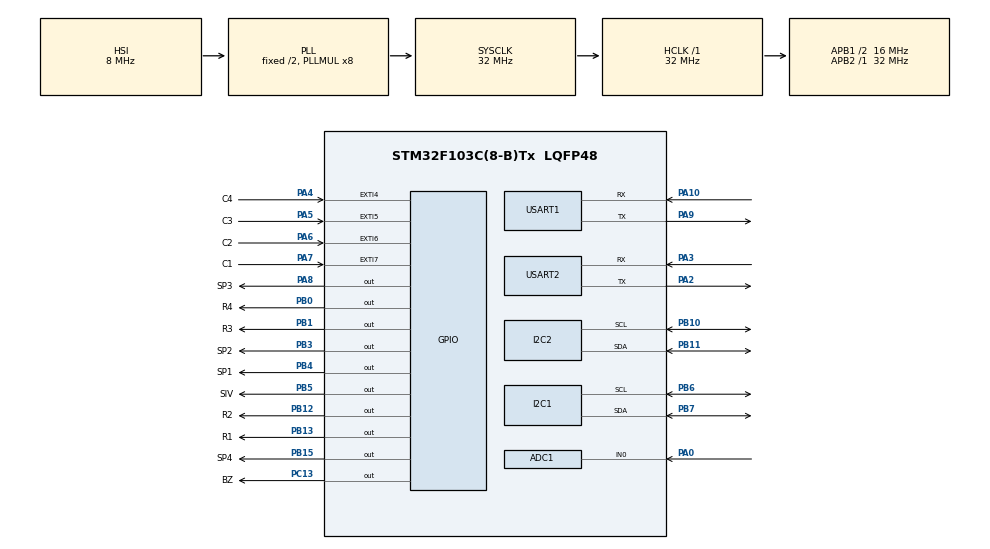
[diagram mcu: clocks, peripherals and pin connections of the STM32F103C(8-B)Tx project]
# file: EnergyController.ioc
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ADC1.Channel-0\#ChannelRegularConversion=ADC_CHANNEL_0
ADC1.NbrOfConversionFlag=1
ADC1.Rank-0\#ChannelRegularConversion=1
ADC1.SamplingTime-0\#ChannelRegularConversion=ADC_SAMPLETIME_7CYCLES_5
ADC1.master=1
FREERTOS.Tasks01=defaultTask,24,128,StartDefaultTask,Default,NULL,Dynamic,NULL,NULL
Mcu.Family=STM32F1
Mcu.Name=STM32F103C(8-B)Tx
Mcu.Package=LQFP48
NVIC.EXTI4_IRQn=true\:6\:0\:true\:false\:true\:true\:true\:true\:true
NVIC.EXTI9_5_IRQn=true\:5\:0\:false\:false\:true\:true\:true\:true\:true
NVIC.PriorityGroup=NVIC_PRIORITYGROUP_4
NVIC.TIM1_UP_IRQn=true\:15\:0\:false\:false\:true\:false\:false\:true\:true
NVIC.TimeBase=TIM1_UP_IRQn
NVIC.TimeBaseIP=TIM1
PA0-WKUP.Signal=ADCx_IN0
PA10.Mode=Asynchronous
PA10.Signal=USART1_RX
PA13.Mode=Serial_Wire
PA13.Signal=SYS_JTMS-SWDIO
PA14.Mode=Serial_Wire
PA14.Signal=SYS_JTCK-SWCLK
PA2.Mode=Asynchronous
PA2.Signal=USART2_TX
PA3.Mode=Asynchronous
PA3.Signal=USART2_RX
PA4.GPIO_Label=C4
PA4.GPIO_ModeDefaultEXTI=GPIO_MODE_IT_FALLING
PA4.GPIO_PuPd=GPIO_PULLUP
PA4.Signal=GPXTI4
PA5.GPIO_Label=C3
PA5.GPIO_ModeDefaultEXTI=GPIO_MODE_IT_FALLING
PA5.GPIO_PuPd=GPIO_PULLUP
PA5.Signal=GPXTI5
PA6.GPIO_Label=C2
PA6.GPIO_ModeDefaultEXTI=GPIO_MODE_IT_FALLING
PA6.GPIO_PuPd=GPIO_PULLUP
PA6.Signal=GPXTI6
PA7.GPIO_Label=C1
PA7.GPIO_ModeDefaultEXTI=GPIO_MODE_IT_FALLING
PA7.GPIO_PuPd=GPIO_PULLUP
PA7.Signal=GPXTI7
PA8.GPIO_Label=SP3
PA8.GPIO_PuPd=GPIO_PULLDOWN
PA8.Signal=GPIO_Output
PA9.Mode=Asynchronous
PA9.Signal=USART1_TX
PB0.GPIO_Label=R4
PB0.GPIO_PuPd=GPIO_PULLDOWN
PB0.Signal=GPIO_Output
PB1.GPIO_Label=R3
PB1.GPIO_PuPd=GPIO_PULLDOWN
PB1.Signal=GPIO_Output
PB10.Mode=I2C
PB10.Signal=I2C2_SCL
PB11.Mode=I2C
PB11.Signal=I2C2_SDA
PB12.GPIO_Label=R2
PB12.GPIO_PuPd=GPIO_PULLDOWN
PB12.Signal=GPIO_Output
PB13.GPIO_Label=R1
PB13.GPIO_PuPd=GPIO_PULLDOWN
PB13.Signal=GPIO_Output
PB15.GPIO_Label=SP4
PB15.GPIO_PuPd=GPIO_PULLDOWN
PB15.Signal=GPIO_Output
PB3.GPIO_Label=SP2
PB3.GPIO_PuPd=GPIO_PULLDOWN
PB3.Signal=GPIO_Output
PB4.GPIO_Label=SP1
PB4.GPIO_PuPd=GPIO_PULLDOWN
PB4.Signal=GPIO_Output
PB5.GPIO_Label=SIV
PB5.GPIO_PuPd=GPIO_PULLDOWN
PB5.Signal=GPIO_Output
PB6.Mode=I2C
PB6.Signal=I2C1_SCL
PB7.Mode=I2C
PB7.Signal=I2C1_SDA
PC13-TAMPER-RTC.GPIO_Label=BZ
PC13-TAMPER-RTC.GPIO_PuPd=GPIO_PULLDOWN
PC13-TAMPER-RTC.Signal=GPIO_Output
ProjectManager.HeapSize=0x200
ProjectManager.StackSize=0x400
ProjectManager.TargetToolchain=STM32CubeIDE
RCC.ADCPresc=RCC_ADCPCLK2_DIV4
RCC.AHBFreq_Value=32000000
RCC.APB1CLKDivider=RCC_HCLK_DIV2
RCC.APB1Freq_Value=16000000
RCC.APB1TimFreq_Value=32000000
RCC.APB2Freq_Value=32000000
RCC.APB2TimFreq_Value=32000000
RCC.HCLKFreq_Value=32000000
RCC.PLLMUL=RCC_PLL_MUL8
RCC.SYSCLKFreq_VALUE=32000000
RCC.SYSCLKSource=RCC_SYSCLKSOURCE_PLLCLK
RCC.USBFreq_Value=32000000
SH.ADCx_IN0.0=ADC1_IN0,IN0
USART1.VirtualMode=VM_ASYNC
USART2.VirtualMode=VM_ASYNC
VP_FREERTOS_VS_CMSIS_V2.Mode=CMSIS_V2
VP_SYS_VS_tim1.Mode=TIM1
board=custom

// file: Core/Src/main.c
/* USER CODE BEGIN Header */
/**
  ******************************************************************************
  * @file           : main.c
  * @brief          : Main program body
  ******************************************************************************
  * @attention
  *
  * Copyright (c) 2025 STMicroelectronics.
  * All rights reserved.
  *
  * This software is licensed under terms that can be found in the LICENSE file
  * in the root directory of this software component.
  * If no LICENSE file comes with this software, it is provided AS-IS.
  *
  ******************************************************************************
  */
/* USER CODE END Header */
#include "main.h"
#include "cmsis_os.h"

/* USER CODE BEGIN Includes */
#include "ADC.h"
#include "ADS1115.h"
#include "LCD2004.h"
#include "Display.h"
/* USER CODE END Includes */

/* USER CODE BEGIN PD */
DateTime_t globalTime;
/* Debounce bằng thời gian (không delay trong ISR) */
static volatile uint32_t s_last_irq_tick = 0U;
#define KEYPAD_DEBOUNCE_MS   30U   // lockout ngắn để tránh lặp
char keyPress = 0;
#define ROWS		4U
#define COLS		4U
/* USER CODE END PD */

/* USER CODE BEGIN PM */
uint8_t    g_portActive[5]   = {0};

static GPIO_TypeDef* ROW_PORT[ROWS] = {R1_GPIO_Port, R2_GPIO_Port, R3_GPIO_Port, R4_GPIO_Port};
static uint16_t      ROW_PIN [ROWS] = {R1_Pin,       R2_Pin,       R3_Pin,       R4_Pin      };
static GPIO_TypeDef* COL_PORT[COLS] = {C1_GPIO_Port, C2_GPIO_Port, C3_GPIO_Port, C4_GPIO_Port};
static uint16_t      COL_PIN [COLS] = {C1_Pin,       C2_Pin,       C3_Pin,       C4_Pin      };

static const char keymap[ROWS][COLS] = {
    {'D','#','0','*'},
    {'C','9','8','7'},
    {'B','6','5','4'},
    {'A','3','2','1'}
};

static inline char Keypad_ScanFast(void)
{
    for (int r = 0; r < ROWS; r++)
    {
        // set tất cả hàng HIGH
        for (int i = 0; i < ROWS; i++) {
            HAL_GPIO_WritePin(ROW_PORT[i], ROW_PIN[i], GPIO_PIN_SET);
        }
        // kéo một hàng xuống LOW
        HAL_GPIO_WritePin(ROW_PORT[r], ROW_PIN[r], GPIO_PIN_RESET);

        // đọc các cột
        for (int c = 0; c < COLS; c++)
        {
            if (HAL_GPIO_ReadPin(COL_PORT[c], COL_PIN[c]) == GPIO_PIN_RESET)
            {
                // trả hàng về HIGH trước khi return
                HAL_GPIO_WritePin(ROW_PORT[r], ROW_PIN[r], GPIO_PIN_SET);
                return keymap[r][c];
            }
        }
    }
    return 0;
}

static inline void Keypad_Init(void)
{
    // Tạo queue: 8 phần tử, mỗi phần tử 1 char (tăng depth cho bền)

    // Kéo tất cả hàng về LOW (mặc định)
    for (int r = 0; r < ROWS; r++) {
        HAL_GPIO_WritePin(ROW_PORT[r], ROW_PIN[r], GPIO_PIN_RESET);
    }
}
/* ==== DateTime helpers: cộng phút vào DateTime_t ==== */
static int is_leap(uint16_t y) { return ((y%4==0 && y%100!=0) || (y%400==0)); }

static uint8_t days_in_month(uint8_t m, uint16_t y)
{
    static const uint8_t d[12] = {31,28,31,30,31,30,31,31,30,31,30,31};
    if (m == 0 || m > 12) return 31;
    if (m == 2) return d[1] + (is_leap(y) ? 1 : 0);
    return d[m-1];
}

/* base->year là 2 chữ số (00..99) => hiểu là 2000+year */
static void DateTime_AddMinutes(const DateTime_t *base, uint32_t addMin, DateTime_t *out)
{
    if (!base || !out) return;

    uint16_t fullY = 2000u + base->year;
    uint8_t  mon   = base->month  ? base->month  : 1;
    uint8_t  day   = base->day    ? base->day    : 1;
    uint8_t  hour  = base->hour;
    uint8_t  min   = base->min;
    uint8_t  sec   = base->sec;   // giữ nguyên giây

    /* cộng phút -> tách phần ngày & phần trong ngày */
    uint32_t totalMin = (uint32_t)hour * 60u + (uint32_t)min + addMin;
    uint32_t daysAdd  = totalMin / (24u * 60u);
    uint32_t minInDay = totalMin % (24u * 60u);

    hour = (uint8_t)(minInDay / 60u);
    min  = (uint8_t)(minInDay % 60u);

    /* cộng ngày, cuốn theo tháng/năm */
    while (daysAdd--)
    {
        uint8_t dim = days_in_month(mon, fullY);
        if (day < dim) {
            day++;
        } else {
            day = 1;
            if (mon < 12) mon++;
            else { mon = 1; fullY++; }
        }
    }

    out->sec   = sec;
    out->min   = min;
    out->hour  = hour;
    out->day   = day;
    out->month = mon;
    out->year  = (uint8_t)(fullY >= 2000 ? (fullY - 2000) : 0);  // 2 chữ số
}

/**************************************/
/*****  Port Service Function *********/
/**************************************/
static void open_port(const uint8_t port_number)
{
	switch(port_number)
	{
		case 0:
			HAL_GPIO_WritePin(SP1_GPIO_Port, SP1_Pin, 0U);
			break;
		case 1:
			HAL_GPIO_WritePin(SP2_GPIO_Port, SP2_Pin, 0U);
			break;
		case 2:
			HAL_GPIO_WritePin(SP3_GPIO_Port, SP3_Pin, 0U);
			break;
		case 3:
			HAL_GPIO_WritePin(SP4_GPIO_Port, SP4_Pin, 0U);
			break;
		case 4:
			HAL_GPIO_WritePin(SIV_GPIO_Port, SIV_Pin, 0U);
			break;
		default:
			HAL_GPIO_WritePin(SP1_GPIO_Port, SP1_Pin, 1U);
			HAL_GPIO_WritePin(SP2_GPIO_Port, SP2_Pin, 1U);
			HAL_GPIO_WritePin(SP3_GPIO_Port, SP3_Pin, 1U);
			HAL_GPIO_WritePin(SP4_GPIO_Port, SP4_Pin, 1U);
			HAL_GPIO_WritePin(SIV_GPIO_Port, SIV_Pin, 1U);
			break;
	}
}
static void close_port(const uint8_t port_number)
{
	switch(port_number)
	{
		case 0:
			HAL_GPIO_WritePin(SP1_GPIO_Port, SP1_Pin, 1U);
			break;
		case 1:
			HAL_GPIO_WritePin(SP2_GPIO_Port, SP2_Pin, 1U);
			break;
		case 2:
			HAL_GPIO_WritePin(SP3_GPIO_Port, SP3_Pin, 1U);
			break;
		case 3:
			HAL_GPIO_WritePin(SP4_GPIO_Port, SP4_Pin, 1U);
			break;
		case 4:
			HAL_GPIO_WritePin(SIV_GPIO_Port, SIV_Pin, 1U);
			break;
		default:
			HAL_GPIO_WritePin(SP1_GPIO_Port, SP1_Pin, 1U);
			HAL_GPIO_WritePin(SP2_GPIO_Port, SP2_Pin, 1U);
			HAL_GPIO_WritePin(SP3_GPIO_Port, SP3_Pin, 1U);
			HAL_GPIO_WritePin(SP4_GPIO_Port, SP4_Pin, 1U);
			HAL_GPIO_WritePin(SIV_GPIO_Port, SIV_Pin, 1U);
			break;
	}
}
static void PortControl_OnSelectFromPage2(uint8_t port)
{
    if (port < 1 || port > 5) return;
    uint8_t idx = (uint8_t)(port - 1);

    if (!g_portActive[idx]) {
        open_port(port-1);       // mở phần cứng
        g_portActive[idx] = 1;
        // chưa có endTime, đợi đặt từ Page3
        g_endTime_set[idx] = 0;
    }
}
static void PortControl_Service(void)
{
    static uint32_t lastTick = 0;
    uint32_t nowTick = osKernelGetTickCount();
    if ((nowTick - lastTick) < 1000U) return;  // 1 Hz
    lastTick = nowTick;

    // cập nhật thời gian hiện tại
    DS1307_ReadDateTime(&globalTime);

    for (uint8_t i = 0; i < 5; ++i) {
        if (g_portActive[i] && g_endTime_set[i]) {
            // nếu now >= endTime -> đóng cổng
            if (DateTime_Compare(&globalTime, &g_endTime[i]) >= 0) {
            	close_port(i);   // đóng phần cứng
                g_portActive[i]  = 0;
                g_endTime_set[i] = 0;
            }
        }
    }
}

/* USER CODE END PM */

ADC_HandleTypeDef hadc1;

I2C_HandleTypeDef hi2c1;
I2C_HandleTypeDef hi2c2;

UART_HandleTypeDef huart1;
UART_HandleTypeDef huart2;

/* Definitions for defaultTask */

/* USER CODE BEGIN PV */

osThreadId_t ReadSourceTaskHandle;
const osThreadAttr_t ReadInputTask_attributes = {
  .name = "Read_Input_Task",
  .stack_size = 128 * 4,
  .priority = (osPriority_t) osPriorityNormal2,
};

osThreadId_t DisplayTaskHandle;
const osThreadAttr_t Display_attributes = {
  .name = "DisplayTask",
  .stack_size = 512 * 4,
  .priority = (osPriority_t) osPriorityNormal,
};

/* USER CODE END PV */

void SystemClock_Config(void);
static void MX_GPIO_Init(void);
static void MX_ADC1_Init(void);
static void MX_I2C1_Init(void);
static void MX_I2C2_Init(void);
static void MX_USART1_UART_Init(void);
static void MX_USART2_UART_Init(void);
void StartDefaultTask(void *argument);

/* USER CODE BEGIN PFP */
void ReadSource(void *pvParameter);
void DisplayTask(void *pvParameter);
void Keypad_EXTI_Callback(uint16_t GPIO_Pin);

/* USER CODE END PFP */

/* USER CODE BEGIN 0 */

/**************** Global Variables ************/
SensorData_t InputSourceData;
SourceOutputData_t OutputSourceData;
/* USER CODE END 0 */

int main(void)
{

  /* MCU Configuration--------------------------------------------------------*/

  /* Reset of all peripherals, Initializes the Flash interface and the Systick. */
  HAL_Init();

  /* Configure the system clock */
  SystemClock_Config();

  /* Initialize all configured peripherals */
  MX_GPIO_Init();
  MX_ADC1_Init();
  MX_I2C1_Init();
  MX_I2C2_Init();
  MX_USART1_UART_Init();
  MX_USART2_UART_Init();

  /* Init scheduler */
  osKernelInitialize();

  /* Create the thread(s) */
  /* creation of defaultTask */
  ReadSourceTaskHandle = osThreadNew(ReadSource, NULL, &ReadInputTask_attributes);
  if (ReadSourceTaskHandle == NULL) {
    // Không đủ heap, sai priority mapping, hoặc header/RTOS mismatch
    Error_Handler();
  }

  DisplayTaskHandle = osThreadNew(DisplayTask, NULL, &Display_attributes);
  if (DisplayTaskHandle == NULL) {
    Error_Handler();
  }
//  /* USER CODE BEGIN RTOS_THREADS */
  DS1307_Init(&hi2c2);
  Display_Init(&hi2c2, 0x27); // hoặc 0x3F tùy module
  Sensor_Init(&hi2c1, &hadc1);
  Sensor_Calibrate(10U);
  /* add threads, ... */
  /* USER CODE END RTOS_THREADS */

  /* Start scheduler */
  osKernelStart();

  /* We should never get here as control is now taken by the scheduler */

  /* Infinite loop */
  while (1)
  {

  }
}

void SystemClock_Config(void)
{
  RCC_OscInitTypeDef RCC_OscInitStruct = {0};
  RCC_ClkInitTypeDef RCC_ClkInitStruct = {0};
  RCC_PeriphCLKInitTypeDef PeriphClkInit = {0};

  /** Initializes the RCC Oscillators according to the specified parameters
  * in the RCC_OscInitTypeDef structure.
  */
  RCC_OscInitStruct.OscillatorType = RCC_OSCILLATORTYPE_HSI;
  RCC_OscInitStruct.HSIState = RCC_HSI_ON;
  RCC_OscInitStruct.HSICalibrationValue = RCC_HSICALIBRATION_DEFAULT;
  RCC_OscInitStruct.PLL.PLLState = RCC_PLL_ON;
  RCC_OscInitStruct.PLL.PLLSource = RCC_PLLSOURCE_HSI_DIV2;
  RCC_OscInitStruct.PLL.PLLMUL = RCC_PLL_MUL8;
  if (HAL_RCC_OscConfig(&RCC_OscInitStruct) != HAL_OK)
  {
    Error_Handler();
  }

  /** Initializes the CPU, AHB and APB buses clocks
  */
  RCC_ClkInitStruct.ClockType = RCC_CLOCKTYPE_HCLK|RCC_CLOCKTYPE_SYSCLK
                              |RCC_CLOCKTYPE_PCLK1|RCC_CLOCKTYPE_PCLK2;
  RCC_ClkInitStruct.SYSCLKSource = RCC_SYSCLKSOURCE_PLLCLK;
  RCC_ClkInitStruct.AHBCLKDivider = RCC_SYSCLK_DIV1;
  RCC_ClkInitStruct.APB1CLKDivider = RCC_HCLK_DIV2;
  RCC_ClkInitStruct.APB2CLKDivider = RCC_HCLK_DIV1;

  if (HAL_RCC_ClockConfig(&RCC_ClkInitStruct, FLASH_LATENCY_1) != HAL_OK)
  {
    Error_Handler();
  }
  PeriphClkInit.PeriphClockSelection = RCC_PERIPHCLK_ADC;
  PeriphClkInit.AdcClockSelection = RCC_ADCPCLK2_DIV4;
  if (HAL_RCCEx_PeriphCLKConfig(&PeriphClkInit) != HAL_OK)
  {
    Error_Handler();
  }
}

static void MX_ADC1_Init(void)
{

  ADC_ChannelConfTypeDef sConfig = {0};

  /** Common config
  */
  hadc1.Instance = ADC1;
  hadc1.Init.ScanConvMode = ADC_SCAN_DISABLE;
  hadc1.Init.ContinuousConvMode = DISABLE;
  hadc1.Init.DiscontinuousConvMode = DISABLE;
  hadc1.Init.ExternalTrigConv = ADC_SOFTWARE_START;
  hadc1.Init.DataAlign = ADC_DATAALIGN_RIGHT;
  hadc1.Init.NbrOfConversion = 1;
  if (HAL_ADC_Init(&hadc1) != HAL_OK)
  {
    Error_Handler();
  }

  /** Configure Regular Channel
  */
  sConfig.Channel = ADC_CHANNEL_0;
  sConfig.Rank = ADC_REGULAR_RANK_1;
  sConfig.SamplingTime = ADC_SAMPLETIME_7CYCLES_5;
  if (HAL_ADC_ConfigChannel(&hadc1, &sConfig) != HAL_OK)
  {
    Error_Handler();
  }

}

static void MX_I2C1_Init(void)
{

  hi2c1.Instance = I2C1;
  hi2c1.Init.ClockSpeed = 100000;
  hi2c1.Init.DutyCycle = I2C_DUTYCYCLE_2;
  hi2c1.Init.OwnAddress1 = 0;
  hi2c1.Init.AddressingMode = I2C_ADDRESSINGMODE_7BIT;
  hi2c1.Init.DualAddressMode = I2C_DUALADDRESS_DISABLE;
  hi2c1.Init.OwnAddress2 = 0;
  hi2c1.Init.GeneralCallMode = I2C_GENERALCALL_DISABLE;
  hi2c1.Init.NoStretchMode = I2C_NOSTRETCH_DISABLE;
  if (HAL_I2C_Init(&hi2c1) != HAL_OK)
  {
    Error_Handler();
  }

}

static void MX_I2C2_Init(void)
{

  hi2c2.Instance = I2C2;
  hi2c2.Init.ClockSpeed = 100000;
  hi2c2.Init.DutyCycle = I2C_DUTYCYCLE_2;
  hi2c2.Init.OwnAddress1 = 0;
  hi2c2.Init.AddressingMode = I2C_ADDRESSINGMODE_7BIT;
  hi2c2.Init.DualAddressMode = I2C_DUALADDRESS_DISABLE;
  hi2c2.Init.OwnAddress2 = 0;
  hi2c2.Init.GeneralCallMode = I2C_GENERALCALL_DISABLE;
  hi2c2.Init.NoStretchMode = I2C_NOSTRETCH_DISABLE;
  if (HAL_I2C_Init(&hi2c2) != HAL_OK)
  {
    Error_Handler();
  }

}

static void MX_USART1_UART_Init(void)
{

  huart1.Instance = USART1;
  huart1.Init.BaudRate = 115200;
  huart1.Init.WordLength = UART_WORDLENGTH_8B;
  huart1.Init.StopBits = UART_STOPBITS_1;
  huart1.Init.Parity = UART_PARITY_NONE;
  huart1.Init.Mode = UART_MODE_TX_RX;
  huart1.Init.HwFlowCtl = UART_HWCONTROL_NONE;
  huart1.Init.OverSampling = UART_OVERSAMPLING_16;
  if (HAL_UART_Init(&huart1) != HAL_OK)
  {
    Error_Handler();
  }

}

static void MX_USART2_UART_Init(void)
{

  huart2.Instance = USART2;
  huart2.Init.BaudRate = 115200;
  huart2.Init.WordLength = UART_WORDLENGTH_8B;
  huart2.Init.StopBits = UART_STOPBITS_1;
  huart2.Init.Parity = UART_PARITY_NONE;
  huart2.Init.Mode = UART_MODE_TX_RX;
  huart2.Init.HwFlowCtl = UART_HWCONTROL_NONE;
  huart2.Init.OverSampling = UART_OVERSAMPLING_16;
  if (HAL_UART_Init(&huart2) != HAL_OK)
  {
    Error_Handler();
  }

}

static void MX_GPIO_Init(void)
{
  GPIO_InitTypeDef GPIO_InitStruct = {0};

  /* GPIO Ports Clock Enable */
  __HAL_RCC_GPIOC_CLK_ENABLE();
  __HAL_RCC_GPIOA_CLK_ENABLE();
  __HAL_RCC_GPIOB_CLK_ENABLE();

  /*Configure GPIO pin Output Level */
  HAL_GPIO_WritePin(BZ_GPIO_Port, BZ_Pin, GPIO_PIN_RESET);

  /*Configure GPIO pin Output Level */
  HAL_GPIO_WritePin(GPIOB, R4_Pin|R3_Pin|R2_Pin|R1_Pin
                          |SP4_Pin|SP2_Pin|SP1_Pin|SIV_Pin, GPIO_PIN_RESET);

  /*Configure GPIO pin Output Level */
  HAL_GPIO_WritePin(SP3_GPIO_Port, SP3_Pin, GPIO_PIN_RESET);

  /*Configure GPIO pin : BZ_Pin */
  GPIO_InitStruct.Pin = BZ_Pin;
  GPIO_InitStruct.Mode = GPIO_MODE_OUTPUT_PP;
  GPIO_InitStruct.Pull = GPIO_PULLDOWN;
  GPIO_InitStruct.Speed = GPIO_SPEED_FREQ_LOW;
  HAL_GPIO_Init(BZ_GPIO_Port, &GPIO_InitStruct);

  /*Configure GPIO pins : C4_Pin C3_Pin C2_Pin C1_Pin */
  GPIO_InitStruct.Pin = C4_Pin|C3_Pin|C2_Pin|C1_Pin;
  GPIO_InitStruct.Mode = GPIO_MODE_IT_FALLING;
  GPIO_InitStruct.Pull = GPIO_PULLUP;
  HAL_GPIO_Init(GPIOA, &GPIO_InitStruct);

  /*Configure GPIO pins : R4_Pin R3_Pin R2_Pin R1_Pin
                           SP4_Pin SP2_Pin SP1_Pin SIV_Pin */
  GPIO_InitStruct.Pin = R4_Pin|R3_Pin|R2_Pin|R1_Pin
                          |SP4_Pin|SP2_Pin|SP1_Pin|SIV_Pin;
  GPIO_InitStruct.Mode = GPIO_MODE_OUTPUT_PP;
  GPIO_InitStruct.Pull = GPIO_PULLDOWN;
  GPIO_InitStruct.Speed = GPIO_SPEED_FREQ_LOW;
  HAL_GPIO_Init(GPIOB, &GPIO_InitStruct);

  /*Configure GPIO pin : SP3_Pin */
  GPIO_InitStruct.Pin = SP3_Pin;
  GPIO_InitStruct.Mode = GPIO_MODE_OUTPUT_PP;
  GPIO_InitStruct.Pull = GPIO_PULLDOWN;
  GPIO_InitStruct.Speed = GPIO_SPEED_FREQ_LOW;
  HAL_GPIO_Init(SP3_GPIO_Port, &GPIO_InitStruct);

  /* EXTI interrupt init*/
  HAL_NVIC_SetPriority(EXTI4_IRQn, 7, 0);
  HAL_NVIC_EnableIRQ(EXTI4_IRQn);

  HAL_NVIC_SetPriority(EXTI9_5_IRQn, 7, 0);
  HAL_NVIC_EnableIRQ(EXTI9_5_IRQn);

}

/* USER CODE BEGIN 4 */
void HAL_GPIO_EXTI_Callback(uint16_t GPIO_Pin)
{
    Keypad_EXTI_Callback(GPIO_Pin);
}
/* USER CODE END 4 */

/* USER CODE BEGIN Header_StartDefaultTask */
void ReadSource(void *pvParameter)
{
	while(1)
	{
		Sensor_ReadAll(&InputSourceData);
		SourceOutput_ReadAll(&OutputSourceData);
		osDelay(1000U);
	}

}

void DisplayTask(void *pvParameter)
{
    DS1307_ReadDateTime(&globalTime);
    typedef enum {
        PAGE1 = 1,
        PAGE2,
        PAGE3,
        PAGE4,
        PAGE5,
        PAGE5_1, PAGE5_2, PAGE5_3, PAGE5_4, PAGE5_5
    } AppPage_t;

    AppPage_t page = PAGE1;
    AppPage_t lastPage = 0;          // theo dõi chuyển trang để chỉ vẽ khi cần

    uint8_t   selectedPort   = 1;    // 1..5 (được chọn ở Page2)
    int8_t    timeOption     = -1;   // -1 = chưa chọn; 1..5 (được chọn ở Page3)
    int8_t    lastTimeOption = -2;   // giá trị đệm để phát hiện thay đổi ở Page3

    uint8_t needRedrawPage3 = 0;     // cờ yêu cầu vẽ lại Page3

    const uint32_t UI_REFRESH_MS = 200;
    uint32_t lastRefreshTick = osKernelGetTickCount();

    // lần đầu render Page1
    Display_UpdatePage1(&InputSourceData, &globalTime);

    for (;;)
    {
        // 1) đọc phím (non-blocking)
        char key = keyPress;

        // 2) xử lý theo trang hiện tại
        if (key != 0)
        {
            switch (page)
            {
            case PAGE1:
                if (key == '*')
                {
                    page = PAGE2;
                    if (lastPage != page) { Display_Page2(); }
                }
                else if (key >= '1' && key <= '5')
                {
                    uint8_t idx = (uint8_t)(key - '0');
                    page = (AppPage_t)(PAGE5_1 + (idx - 1));
                    if (lastPage != page) { Display_Page5_Select(idx, &OutputSourceData); }
                }
                break;

            case PAGE2:
                if (key >= '1' && key <= '5')
                {
                    selectedPort = (uint8_t)(key - '0');
                    PortControl_OnSelectFromPage2(selectedPort);

                    page = PAGE3;
                    timeOption = -1;
                    needRedrawPage3 = 1;
                }
                else if (key == '0')
                {
                    page = PAGE1;
                    if (lastPage != page) { Display_UpdatePage1(&InputSourceData, &globalTime); }
                }
                break;

            case PAGE3:
                if (key >= '1' && key <= '5')
                {
                    timeOption = (int8_t)(key - '0');
                    if (timeOption != lastTimeOption)
                        needRedrawPage3 = 1;
                }
                else if (key == '#')
                {
                    if (timeOption == -1)
                    {
                        // chưa chọn -> hiển thị nhắc
                    }
                    else if (timeOption >= 1 && timeOption <= 4)
                    {
                        uint32_t addMin = (timeOption == 1) ? 30u :
                                          (timeOption == 2) ? 60u :
                                          (timeOption == 3) ? 120u : 240u;

                        DS1307_ReadDateTime(&globalTime);
                        DateTime_t et;
                        DateTime_AddMinutes(&globalTime, addMin, &et);

                        if (selectedPort >= 1 && selectedPort <= 5)
                        {
                            uint8_t idx = (uint8_t)(selectedPort - 1);
                            g_endTime[idx] = et;
                            g_endTime_set[idx] = 1;
                        }

                        page = PAGE5;
                        if (lastPage != page) { Display_Page5_Select(selectedPort, &OutputSourceData); }
                    }
                    else // timeOption == 5 -> custom
                    {
                        page = PAGE4;
                        if (lastPage != page)
                        {
                            key = 0;
                            Display_Page4();
                        }
                    }
                }
                else if (key == '*')
                {
                    page = PAGE2;
                    if (lastPage != page) { Display_Page2(); }
                }
                else if (key == '0')
                {
                    page = PAGE1;
                    if (lastPage != page) { Display_UpdatePage1(&InputSourceData, &globalTime); }
                }
                break;

            case PAGE4:
                if (key >= '0' && key <= '9')
                {
                    Display_Page4_HandleKey(key);
                }
                else if (key == '#')
                {
                    uint16_t chargeMinutes = Display_GetInputMinutes();
                    if (chargeMinutes == 0) chargeMinutes = 1;

                    DS1307_ReadDateTime(&globalTime);
                    DateTime_t et;
                    DateTime_AddMinutes(&globalTime, chargeMinutes, &et);

                    if (selectedPort >= 1 && selectedPort <= 5)
                    {
                        uint8_t idx = (uint8_t)(selectedPort - 1);
                        g_endTime[idx] = et;
                        g_endTime_set[idx] = 1;
                    }

                    page = PAGE5;
                    if (lastPage != page) { Display_Page5_Select(selectedPort, &OutputSourceData); }
                    Display_ClearInputBuffer();
                }
                else if (key == '*')
                {
                    Display_ClearInputBuffer();
                    page = PAGE3;
                    needRedrawPage3 = 1;
                }
                break;

            case PAGE5:
                if (key == '0')
                {
                    page = PAGE1;
                    if (lastPage != page) { Display_UpdatePage1(&InputSourceData, &globalTime); }
                }
                else if (key >= '1' && key <= '5')
                {
                    uint8_t idx = (uint8_t)(key - '0');
                    page = (AppPage_t)(PAGE5_1 + (idx - 1));
                    if (lastPage != page) { Display_Page5_Select(idx, &OutputSourceData); }
                }
                else if (key == '*')
                {
                    page = PAGE3;
                    needRedrawPage3 = 1;
                }
                break;

            case PAGE5_1:
            case PAGE5_2:
            case PAGE5_3:
            case PAGE5_4:
            case PAGE5_5:
                if (key == '0')
                {
                    page = PAGE1;
                    if (lastPage != page) { Display_UpdatePage1(&InputSourceData, &globalTime); }
                }
                else if (key == '*')
                {
                    page = PAGE2;
                    if (lastPage != page) { Display_Page2(); }
                }
                break;

            default:
                page = PAGE1;
                if (lastPage != page) { Display_UpdatePage1(&InputSourceData, &globalTime); }
                break;
            }

            // ✅ Reset phím sau khi xử lý xong
            keyPress = 0;
        }

        // 2.5) Vẽ khi phát hiện CHUYỂN TRANG hoặc cần vẽ Page3
        if (lastPage != page)
        {
            if (page == PAGE3)
            {
                lastTimeOption = -2;
                needRedrawPage3 = 1;
                Display_Page3();
            }
            lastPage = page;
        }

        if (page == PAGE3 && needRedrawPage3)
        {
            Display_Page3();
            lastTimeOption = timeOption;
            needRedrawPage3 = 0;
        }

        // 3) refresh định kỳ
        uint32_t now = osKernelGetTickCount();
        if ((now - lastRefreshTick) >= UI_REFRESH_MS)
        {
            lastRefreshTick = now;
            switch (page)
            {
                case PAGE1:
                    Display_UpdatePage1(&InputSourceData, &globalTime);
                    break;
                case PAGE2:
                    break;
                case PAGE3:
                    break;
                case PAGE4:
                    break;
                case PAGE5:
                    break;
                case PAGE5_1: Display_Page5_Select(1, &OutputSourceData); break;
                case PAGE5_2: Display_Page5_Select(2, &OutputSourceData); break;
                case PAGE5_3: Display_Page5_Select(3, &OutputSourceData); break;
                case PAGE5_4: Display_Page5_Select(4, &OutputSourceData); break;
                case PAGE5_5: Display_Page5_Select(5, &OutputSourceData); break;
                default: break;
            }
        }

        PortControl_Service();
    }
}

void Keypad_EXTI_Callback(uint16_t GPIO_Pin)
{
    (void)GPIO_Pin;

    // Tạm thời vô hiệu hoá ngắt (tránh ngắt lặp)

    // Gửi tín hiệu cho task keypad (CMSIS v2)
    // osSemaphoreRelease có thể gọi trong ISR trên RTX5; context switch sẽ được xử lý khi thoát ISR.
    // ví dụ: bật LED báo lỗi ISR priority
    HAL_GPIO_WritePin(BZ_GPIO_Port, BZ_Pin, 1U);
    osDelay(250);
    HAL_GPIO_WritePin(BZ_GPIO_Port, BZ_Pin, 0U);

    (void)GPIO_Pin;

    // Debounce bằng thời gian – KHÔNG dùng osDelay trong ISR
    uint32_t now = HAL_GetTick();
    if ((now - s_last_irq_tick) < KEYPAD_DEBOUNCE_MS) {
        return; // bỏ qua các ngắt quá sát nhau
    }
    s_last_irq_tick = now;

    // Quét ma trận nhanh
    char key = Keypad_ScanFast();

    // Đẩy phím vào queue cho DisplayTask đọc
    if (key != 0) {
        keyPress = key;
    }

    // Trả các hàng về LOW (trạng thái idle)
    for (int r = 0; r < ROWS; r++) {
        HAL_GPIO_WritePin(ROW_PORT[r], ROW_PIN[r], GPIO_PIN_RESET);
    }
}

/**
  * @brief  Function implementing the defaultTask thread.
  * @param  argument: Not used
  * @retval None
  */
/* USER CODE END Header_StartDefaultTask */

void HAL_TIM_PeriodElapsedCallback(TIM_HandleTypeDef *htim)
{
  if (htim->Instance == TIM1)
  {
    HAL_IncTick();
  }
}

void Error_Handler(void)
{
  __disable_irq();
  while (1)
  {
  }
}
